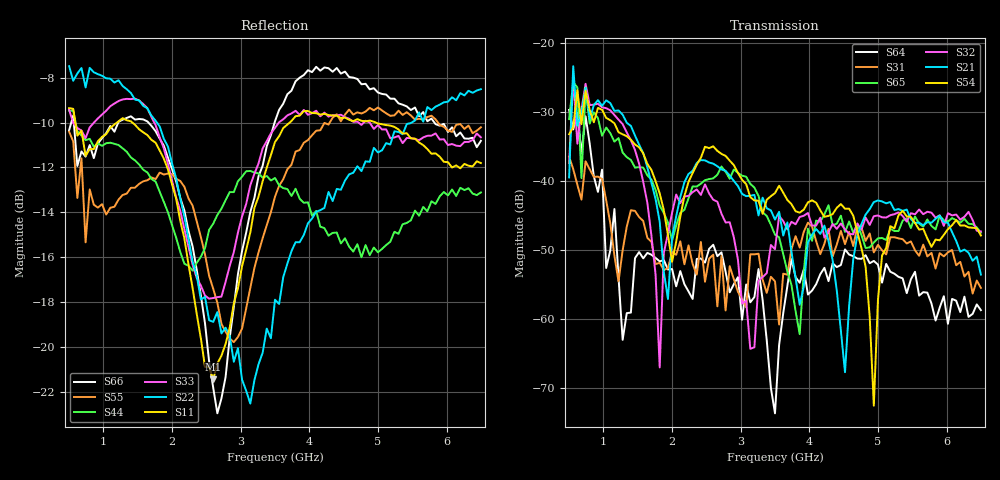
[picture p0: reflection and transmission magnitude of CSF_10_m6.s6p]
!Keysight Technologies,M9804A,MY58100912,A.14.10.03
!Date: Thursday, April 27, 2023 10:28:33
!Correction: S11(C  6-Port  )
!S12(C  6-Port  )
!S13(C  6-Port  )
!S14(C  6-Port  )
!S15(C  6-Port  )
!S16(C  6-Port  )
!S21(C  6-Port  )
!S22(C  6-Port  )
!S23(C  6-Port  )
!S24(C  6-Port  )
!S25(C  6-Port  )
!S26(C  6-Port  )
!S31(C  6-Port  )
!S32(C  6-Port  )
!S33(C  6-Port  )
!S34(C  6-Port  )
!S35(C  6-Port  )
!S36(C  6-Port  )
!S41(C  6-Port  )
!S42(C  6-Port  )
!S43(C  6-Port  )
!S44(C  6-Port  )
!S45(C  6-Port  )
!S46(C  6-Port  )
!S51(C  6-Port  )
!S52(C  6-Port  )
!S53(C  6-Port  )
!S54(C  6-Port  )
!S55(C  6-Port  )
!S56(C  6-Port  )
!S61(C  6-Port  )
!S62(C  6-Port  )
!S63(C  6-Port  )
!S64(C  6-Port  )
!S65(C  6-Port  )
!S66(C  6-Port  )
!S6P File: Measurement: :
# Hz S  RI  R 50
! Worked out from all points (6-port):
!   101 points, 500 MHz to 6.5 GHz, reference 50 ohm
!   strongest paths, dB at 500 MHz, 2 GHz, 3.5 GHz, 5 GHz, 6.5 GHz:
!     S54: -33.3, -51.8, -41.8, -57.3, -47.9
!     S21: -39.5, -48.2, -45.6, -42.9, -53.6
!     S32: -37.5, -44.7, -49.9, -45.0, -47.4
!     S65: -31.1, -48.7, -47.8, -48.4, -47.5
!     S31: -36.5, -50.3, -54.6, -49.3, -55.5
!     S64: -29.8, -52.8, -73.7, -52.2, -58.7
!   lowest |S11| = -21.4 dB at 2.6 GHz (marker M1), VSWR 1.19, Z = 42.5 + j2.16 ohm
!   |S11| at or under -10 dB: 590.5 MHz to 1.197 GHz (606.6 MHz wide, 67.9 % of centre); 1.421 GHz to 3.714 GHz (2.293 GHz wide, 89.3 % of centre); 4.968 GHz to end of sweep
